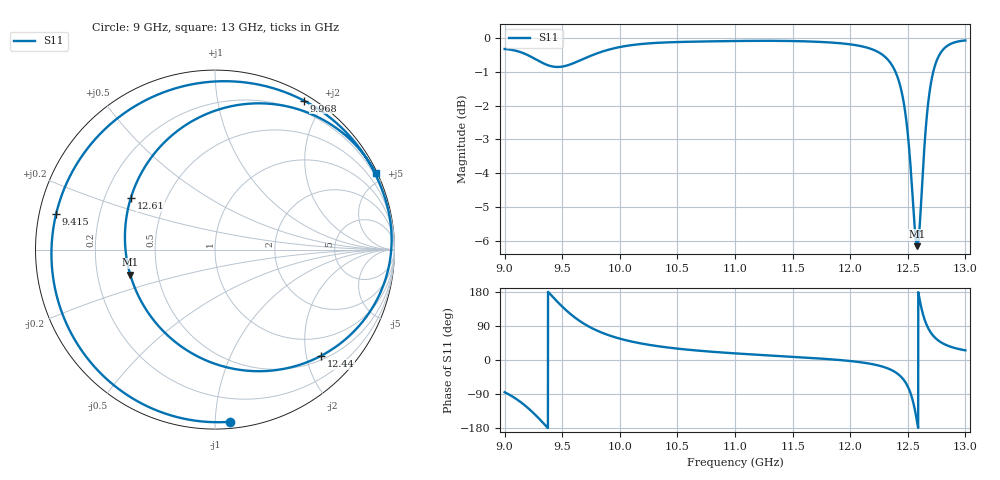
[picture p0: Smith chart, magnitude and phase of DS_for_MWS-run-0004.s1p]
! TOUCHSTONE file generated by CST DESIGN STUDIO
! Date and time: Tue Feb  4 14:29:02 2025
! Project name: C:\Work\MatlabApps\UnitCellOptimizationMatlab\CST\unitcell.cst
! Tree item: Tasks\Sweep1\SPara1\S-Parameters
! Header version: 2024
! Port assignment regex: !\s*Touchstone port\s*([0-9]+)\s*=\s*(CST MWS port|CST DES external port|CST DES block port)\s*(.+)\s* \(\"(.*)\"\)(\s*mode\s*([0-9]+))?.*
! Touchstone port assignment:
! Touchstone port 1 = CST DES external port 1 ("")
# GHz S MA R 50
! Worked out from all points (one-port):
!   4001 points, 9 GHz to 13 GHz, reference 50 ohm
!   lowest |S11| = -6.2 dB at 12.58 GHz (marker M1), VSWR 2.94, Z = 17.3 - j6.39 ohm
!   |S11| at or under -10 dB: nowhere
!   S11 on the Smith chart (normalised r, x): 9 GHz: 0.04, -1.09; 9.415 GHz: 0.05, +0.11; 9.968 GHz: 0.07, +1.76; 12.44 GHz: 0.58, -2.28; 12.61 GHz: 0.31, +0.26; 13 GHz: 0.09, +4.43
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9  0.9628 -84.9
9.112  0.9557 -105.1
9.204  0.9425 -127.0
9.318  0.9204 -160.8
9.415  0.9073 167.5
9.5  0.9069 141.0
9.586  0.9158 117.8
9.681  0.9304 97.2
9.819  0.9508 75.3
9.968  0.9666 59.1
10  0.9692 56.3
10.5  0.9859 30.0
11  0.9893 17.5
11.5  0.9892 8.4
12  0.9782 -2.7
12.303  0.9373 -19.6
12.384  0.8976 -30.7
12.444  0.8362 -45.1
12.5  0.7211 -70.0
12.542  0.5819 -105.7
12.581  0.4925 -163.5
12.61  0.5501 148.5
12.64  0.6734 112.2
12.67  0.7814 88.4
12.715  0.8819 66.1
12.764  0.9365 51.7
12.858  0.9769 36.5
13  0.9912 25.5
